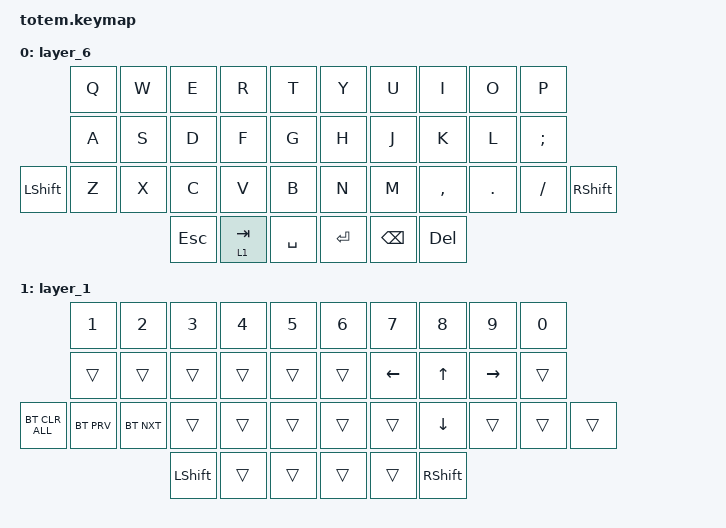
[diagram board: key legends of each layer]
//
//                                                        ▀▀▀▀▀     ▀▀▀▀▀          ▀▀█▀▀
//                                                        ▄▀▀▀▄  ▄  ▄▀▀▀▄  ▄  ▄▀▀▀▄  █  ▄▀▀▀▄
//                                                        █   █  █  █   █  █  █   █  █  █   █
//                                                         ▀▀▀   █   ▀▀▀   █   ▀▀▀   ▀   ▀▀▀
//                                                               █      ▄▄▄█▄▄▄    █   █  
//                                                               ▀      █  █  █     █▄█
//                                                             ▀▀▀▀▀    █  █  █      ▀
//                                                                      ▀  ▀  ▀
//
// ▄▄▄▄▄▄▄▄▄▄▄▄▄▄▄▄▄▄▄▄▄▄▄▄▄▄▄▄▄▄▄▄▄▄▄▄▄▄▄▄▄▄▄▄▄▄▄▄▄▄▄▄▄▄▄▄▄▄▄▄▄▄▄▄▄▄▄▄▄▄▄▄▄▄▄▄▄▄▄▄▄▄▄▄▄▄▄▄▄▄▄▄▄▄▄▄▄▄▄▄▄▄▄▄▄▄▄▄▄▄▄▄▄▄▄▄▄▄▄▄▄▄▄▄▄▄▄▄▄▄▄▄▄▄▄▄▄▄▄▄▄▄▄▄▄▄▄▄▄

#include <behaviors.dtsi>
#include <dt-bindings/zmk/bt.h>
#include <dt-bindings/zmk/keys.h>

#define BASE 0
#define NAV  1
#define SYM  2
#define ADJ  3
#define TVP1 4
#define TVP2 5

&mt {
    quick-tap-ms = <100>;
    global-quick-tap;
    flavor = "tap-preferred";
    tapping-term-ms = <170>;
};

/ {
    combos { compatible = "zmk,combos"; };

    keymap {
        compatible = "zmk,keymap";

        // ▄▄▄▄▄▄▄▄▄▄▄▄▄▄▄▄▄▄▄▄▄▄▄▄▄▄▄▄▄▄▄▄▄▄▄▄▄▄▄▄▄▄▄▄▄▄▄▄▄▄▄▄▄▄▄▄▄▄▄▄▄▄▄▄▄▄▄▄▄▄▄▄▄▄▄▄▄▄▄▄▄▄▄▄▄▄▄▄▄▄▄▄▄▄▄▄▄▄▄▄▄▄▄▄▄▄▄▄▄▄▄▄▄▄▄▄▄▄▄▄▄▄▄▄▄▄▄▄▄▄▄▄▄▄▄▄▄▄▄▄▄▄▄▄▄▄▄▄▄

        layer_6 {
            bindings = <
           &kp Q  &kp W  &kp E    &kp R      &kp T        &kp Y    &kp U     &kp I      &kp O    &kp P
           &kp A  &kp S  &kp D    &kp F      &kp G        &kp H    &kp J     &kp K      &kp L    &kp SEMI
&kp LSHFT  &kp Z  &kp X  &kp C    &kp V      &kp B        &kp N    &kp M     &kp COMMA  &kp DOT  &kp FSLH  &kp RSHFT
                         &kp ESC  &lt 1 TAB  &kp SPACE    &kp RET  &kp BSPC  &kp DEL
            >;
        };

        layer_1 {
            bindings = <
                &kp N1      &kp N2      &kp N3     &kp N4  &kp N5    &kp N6  &kp N7    &kp N8     &kp N9     &kp N0
                &trans      &trans      &trans     &trans  &trans    &trans  &kp LEFT  &kp UP     &kp RIGHT  &trans
&bt BT_CLR_ALL  &bt BT_PRV  &bt BT_NXT  &trans     &trans  &trans    &trans  &trans    &kp DOWN   &trans     &trans  &trans
                                        &kp LSHFT  &trans  &trans    &trans  &trans    &kp RSHFT
            >;
        };
    };
};
